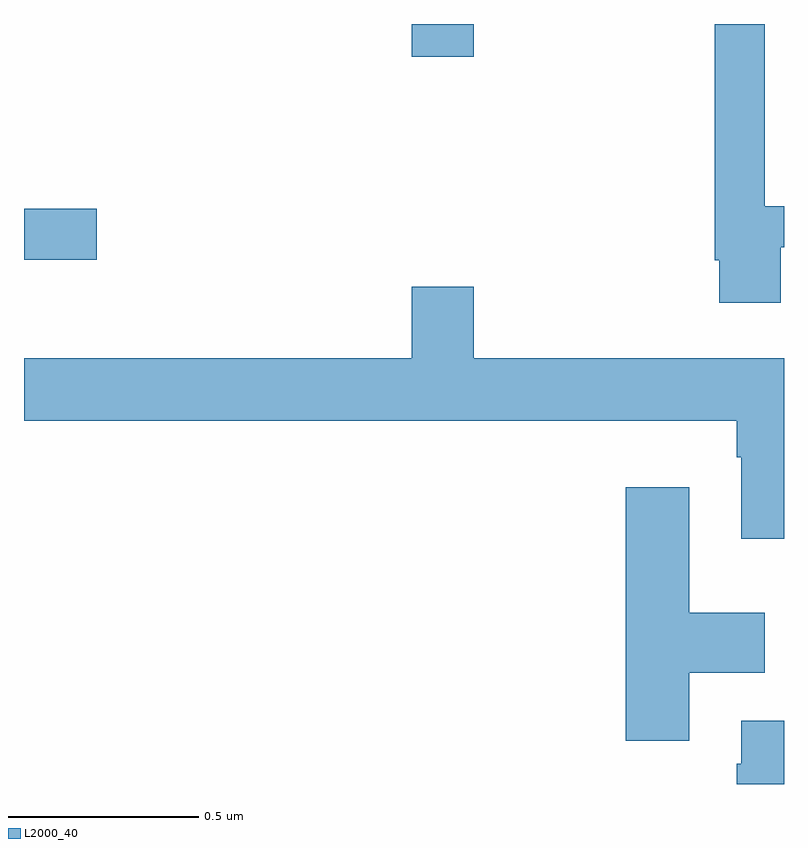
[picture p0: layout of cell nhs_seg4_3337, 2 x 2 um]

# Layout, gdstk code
import gdstk
lib = gdstk.Library(unit=1e-6, precision=1e-09)
def R(c, l, rs):  # rectangles x0, y0, x1, y1
    for r in rs: c.add(gdstk.rectangle(r[:2], r[2:], *l))
def P(c, l, *ps):  # polygons
    for p in ps: c.add(gdstk.Polygon(p, *l))
L2000_40 = (2000, 40)

nhs_seg4_3337 = lib.new_cell('nhs_seg4_3337')
R(nhs_seg4_3337, L2000_40, [(152,761.279,152.191,761.414), (153.02,761.814,153.184,761.9)])
P(nhs_seg4_3337, L2000_40, [(153.991,761.313),(154,761.313),(154,761.421),(153.949,761.421),(153.949,761.9),(153.818,761.9),(153.818,761.278),(153.83,761.278),(153.83,761.166),(153.991,761.166)],
  [(154,761.02),(153.184,761.02),(153.184,761.209),(153.02,761.209),(153.02,761.02),(152,761.02),(152,760.856),(153.875,760.856),(153.875,760.76),(153.887,760.76),(153.887,760.545),(154,760.545)],
  [(153.751,760.193),(153.949,760.193),(153.949,760.351),(153.751,760.351),(153.751,760.681),(153.584,760.681),(153.584,760.014),(153.751,760.014)],
  [(154,760.066),(153.887,760.066),(153.887,759.953),(153.875,759.953),(153.875,759.9),(154,759.9)])

lib.write_gds('nhs_seg4_3337.gds')
